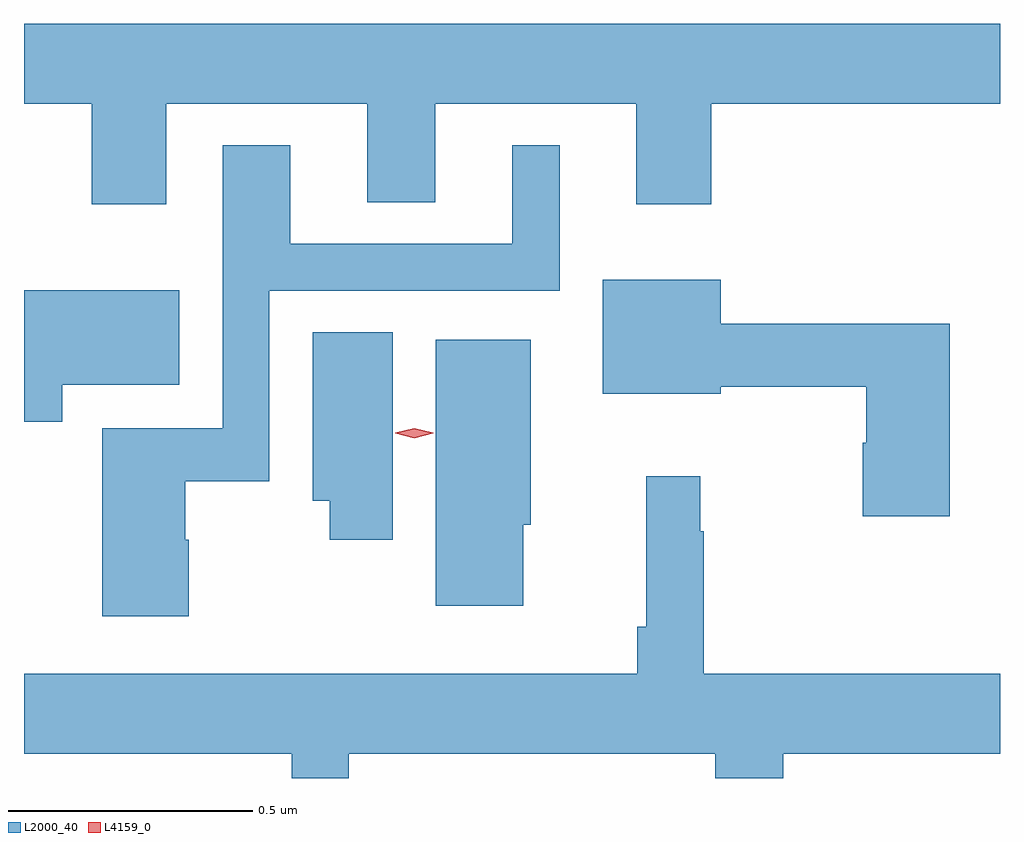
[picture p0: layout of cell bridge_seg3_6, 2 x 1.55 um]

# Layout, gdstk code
import gdstk
lib = gdstk.Library(unit=1e-6, precision=1e-09)
def P(c, l, *ps):  # polygons
    for p in ps: c.add(gdstk.Polygon(p, *l))
L2000_40 = (2000, 40)
L4159_0 = (4159, 0)

bridge_seg3_6 = lib.new_cell('bridge_seg3_6')
P(bridge_seg3_6, L2000_40, [(993.079,747.536),(993.491,747.536),(993.491,747.334),(993.631,747.334),(993.631,747.536),(994.043,747.536),(994.043,747.33),(994.196,747.33),(994.196,747.536),(994.788,747.536),(994.788,747.7),(992.788,747.7),(992.788,747.536),(992.927,747.536),(992.927,747.33),(993.079,747.33)],
  [(993.126,746.643),(993.118,746.643),(993.118,746.763),(993.291,746.763),(993.291,747.153),(993.886,747.153),(993.886,747.451),(993.788,747.451),(993.788,747.249),(993.334,747.249),(993.334,747.451),(993.195,747.451),(993.195,746.871),(992.948,746.871),(992.948,746.486),(993.126,746.486)],
  [(994.685,747.085),(994.216,747.085),(994.216,747.175),(993.974,747.175),(993.974,746.942),(994.216,746.942),(994.216,746.956),(994.514,746.956),(994.514,746.841),(994.507,746.841),(994.507,746.691),(994.685,746.691)],
  [(992.866,746.96),(993.106,746.96),(993.106,747.154),(992.788,747.154),(992.788,746.884),(992.866,746.884)],
  [(993.544,747.068),(993.38,747.068),(993.38,746.723),(993.415,746.723),(993.415,746.643),(993.544,746.643)],
  [(993.811,746.673),(993.826,746.673),(993.826,747.052),(993.632,747.052),(993.632,746.507),(993.811,746.507)],
  [(993.453,746.204),(994.205,746.204),(994.205,746.154),(994.344,746.154),(994.344,746.204),(994.788,746.204),(994.788,746.368),(994.181,746.368),(994.181,746.66),(994.174,746.66),(994.174,746.773),(994.063,746.773),(994.063,746.464),(994.045,746.464),(994.045,746.368),(992.788,746.368),(992.788,746.204),(993.337,746.204),(993.337,746.154),(993.453,746.154)])
P(bridge_seg3_6, L4159_0, [(993.588,746.851),(993.549,746.861),(993.549,746.861),(993.549,746.862),(993.588,746.871),(993.627,746.862),(993.627,746.861),(993.627,746.861)])

lib.write_gds('bridge_seg3_6.gds')
